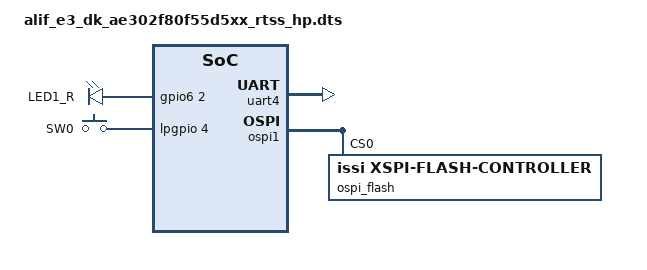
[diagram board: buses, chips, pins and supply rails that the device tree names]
/* Copyright (c) 2025 Alif Semiconductor
 *
 * SPDX-License-Identifier: Apache-2.0
 */

/dts-v1/;

#include <alif/ensemble/e3/ae302f80f55d5xx.dtsi>
#include <alif/ensemble/common/ensemble_rtss_hp.dtsi>
#include "../common/ensemble-pinctrl.dtsi"

/ {
	compatible = "arm,alif-e3-dk-ae302f80f55d5xx-m55-hp";
	#address-cells = <1>;
	#size-cells = <1>;

	chosen {
		zephyr,flash = &mram_storage;
		zephyr,code-partition = &slot0_partition;
		zephyr,sram = &dtcm;
		zephyr,console = &uart4;
		zephyr,shell-uart = &uart4;
		zephyr,uart-mcumgr = &uart4;
	};

	aliases {
		led0 = &aled0;
		sw0 = &button0;
	};

	leds {
		compatible = "gpio-leds";

		aled0: led_0 {
			gpios = <&gpio6 2 0>;
			label = "LED1_R";
		};
	};

	buttons {
		compatible = "gpio-keys";

		button0: button_0 {
			gpios = < &lpgpio 4 0 >;
			label = "SW0";
		};
	};
};

&lpgpio {
	status = "okay";
};

&gpio6 {
	status = "okay";
};

&uart4 {
	status = "okay";
};

&ospi1 {
	/* External Flash on OSPI */
	ospi_flash: ospi_flash@0 {
		compatible = "issi,xspi-flash-controller";
		reg = <0x0>;
		erase-value = <0xff>;
		num-of-sector = <16384>;
		page-size = <4096>;
		sector-size = <4096>;
		write-block-size = <2>;

		/* Flash Size 64MB */
		#address-cells = <1>;
		#size-cells = <1>;

		flash_storage: flash_storage@0 {
			compatible = "soc-nv-flash";
			reg = <0x0 DT_SIZE_M(64)>;
			erase-block-size = <DT_SIZE_K(4)>;
			write-block-size = <2>;
		};
	};
};
